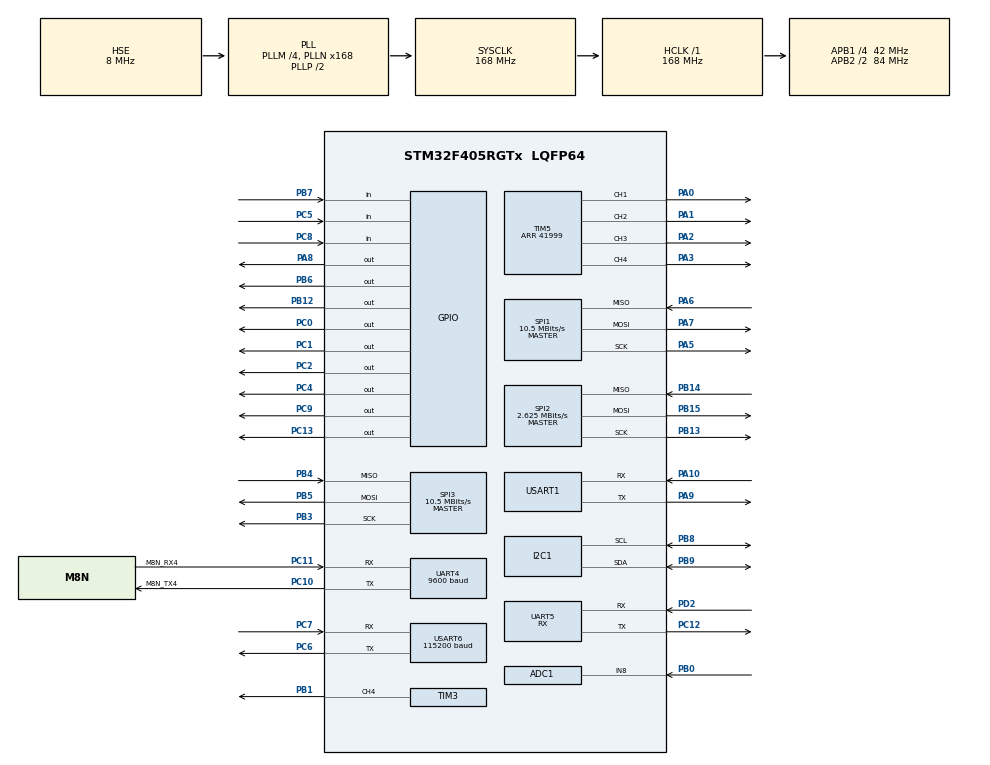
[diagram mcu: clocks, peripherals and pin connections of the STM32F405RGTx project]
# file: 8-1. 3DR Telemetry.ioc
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ADC1.Channel-0\#ChannelRegularConversion=ADC_CHANNEL_8
ADC1.ClockPrescaler=ADC_CLOCK_SYNC_PCLK_DIV8
ADC1.ContinuousConvMode=ENABLE
ADC1.DMAContinuousRequests=ENABLE
ADC1.NbrOfConversionFlag=1
ADC1.Rank-0\#ChannelRegularConversion=1
ADC1.SamplingTime-0\#ChannelRegularConversion=ADC_SAMPLETIME_480CYCLES
ADC1.master=1
Dma.ADC1.0.Direction=DMA_PERIPH_TO_MEMORY
Dma.ADC1.0.FIFOMode=DMA_FIFOMODE_DISABLE
Dma.ADC1.0.Instance=DMA2_Stream0
Dma.ADC1.0.MemDataAlignment=DMA_MDATAALIGN_HALFWORD
Dma.ADC1.0.MemInc=DMA_MINC_DISABLE
Dma.ADC1.0.Mode=DMA_CIRCULAR
Dma.ADC1.0.PeriphDataAlignment=DMA_PDATAALIGN_HALFWORD
Dma.ADC1.0.PeriphInc=DMA_PINC_DISABLE
Dma.ADC1.0.Priority=DMA_PRIORITY_LOW
Dma.Request0=ADC1
I2C1.I2C_Mode=I2C_Fast
Mcu.Family=STM32F4
Mcu.Name=STM32F405RGTx
Mcu.Package=LQFP64
NVIC.DMA2_Stream0_IRQn=true\:0\:0\:false\:false\:true\:false\:true
NVIC.PriorityGroup=NVIC_PRIORITYGROUP_4
NVIC.UART4_IRQn=true\:0\:0\:false\:false\:true\:true\:true
NVIC.UART5_IRQn=true\:0\:0\:false\:false\:true\:true\:true
NVIC.USART1_IRQn=true\:0\:0\:false\:false\:true\:true\:true
NVIC.USART6_IRQn=true\:0\:0\:false\:false\:true\:true\:true
PA0-WKUP.Signal=S_TIM5_CH1
PA1.Signal=S_TIM5_CH2
PA10.Mode=Asynchronous
PA10.Signal=USART1_RX
PA2.Signal=S_TIM5_CH3
PA3.Signal=S_TIM5_CH4
PA5.Mode=Full_Duplex_Master
PA5.Signal=SPI1_SCK
PA6.Mode=Full_Duplex_Master
PA6.Signal=SPI1_MISO
PA7.Mode=Full_Duplex_Master
PA7.Signal=SPI1_MOSI
PA8.Signal=GPIO_Output
PA9.Mode=Asynchronous
PA9.Signal=USART1_TX
PB0.Signal=ADCx_IN8
PB1.Signal=S_TIM3_CH4
PB12.Signal=GPIO_Output
PB13.Mode=Full_Duplex_Master
PB13.Signal=SPI2_SCK
PB14.Mode=Full_Duplex_Master
PB14.Signal=SPI2_MISO
PB15.Mode=Full_Duplex_Master
PB15.Signal=SPI2_MOSI
PB3.Mode=Full_Duplex_Master
PB3.Signal=SPI3_SCK
PB4.Mode=Full_Duplex_Master
PB4.Signal=SPI3_MISO
PB5.Mode=Full_Duplex_Master
PB5.Signal=SPI3_MOSI
PB6.Signal=GPIO_Output
PB7.Signal=GPIO_Input
PB8.Mode=I2C
PB8.Signal=I2C1_SCL
PB9.Mode=I2C
PB9.Signal=I2C1_SDA
PC0.Signal=GPIO_Output
PC1.Signal=GPIO_Output
PC10.GPIO_Label=M8N_TX4
PC10.Mode=Asynchronous
PC10.Signal=UART4_TX
PC11.GPIO_Label=M8N_RX4
PC11.Mode=Asynchronous
PC11.Signal=UART4_RX
PC12.Mode=Asynchronous
PC12.Signal=UART5_TX
PC13-ANTI_TAMP.PinState=GPIO_PIN_SET
PC13-ANTI_TAMP.Signal=GPIO_Output
PC2.Signal=GPIO_Output
PC4.Signal=GPIO_Output
PC5.Signal=GPIO_Input
PC6.Mode=Asynchronous
PC6.Signal=USART6_TX
PC7.Mode=Asynchronous
PC7.Signal=USART6_RX
PC8.Signal=GPIO_Input
PC9.Signal=GPIO_Output
PD2.Mode=Asynchronous
PD2.Signal=UART5_RX
PH0-OSC_IN.Mode=HSE-External-Oscillator
PH0-OSC_IN.Signal=RCC_OSC_IN
PH1-OSC_OUT.Mode=HSE-External-Oscillator
PH1-OSC_OUT.Signal=RCC_OSC_OUT
ProjectManager.HeapSize=0x200
ProjectManager.StackSize=0x400
ProjectManager.TargetToolchain=STM32CubeIDE
RCC.48MHZClocksFreq_Value=84000000
RCC.AHBFreq_Value=168000000
RCC.APB1CLKDivider=RCC_HCLK_DIV4
RCC.APB1Freq_Value=42000000
RCC.APB1TimFreq_Value=84000000
RCC.APB2CLKDivider=RCC_HCLK_DIV2
RCC.APB2Freq_Value=84000000
RCC.APB2TimFreq_Value=168000000
RCC.CortexFreq_Value=168000000
RCC.HCLKFreq_Value=168000000
RCC.HSE_VALUE=8000000
RCC.HSI_VALUE=16000000
RCC.LSE_VALUE=32768
RCC.PLLM=4
RCC.PLLN=168
RCC.PLLSourceVirtual=RCC_PLLSOURCE_HSE
RCC.SYSCLKFreq_VALUE=168000000
RCC.SYSCLKSource=RCC_SYSCLKSOURCE_PLLCLK
RCC.VCOOutputFreq_Value=336000000
SH.ADCx_IN8.0=ADC1_IN8,IN8
SH.S_TIM3_CH4.0=TIM3_CH4,PWM Generation4 CH4
SH.S_TIM5_CH1.0=TIM5_CH1,PWM Generation1 CH1
SH.S_TIM5_CH2.0=TIM5_CH2,PWM Generation2 CH2
SH.S_TIM5_CH3.0=TIM5_CH3,PWM Generation3 CH3
SH.S_TIM5_CH4.0=TIM5_CH4,PWM Generation4 CH4
SPI1.BaudRatePrescaler=SPI_BAUDRATEPRESCALER_8
SPI1.CLKPhase=SPI_PHASE_2EDGE
SPI1.CLKPolarity=SPI_POLARITY_HIGH
SPI1.CalculateBaudRate=10.5 MBits/s
SPI1.Direction=SPI_DIRECTION_2LINES
SPI1.Mode=SPI_MODE_MASTER
SPI1.VirtualType=VM_MASTER
SPI2.BaudRatePrescaler=SPI_BAUDRATEPRESCALER_16
SPI2.CLKPhase=SPI_PHASE_2EDGE
SPI2.CLKPolarity=SPI_POLARITY_HIGH
SPI2.CalculateBaudRate=2.625 MBits/s
SPI2.Direction=SPI_DIRECTION_2LINES
SPI2.Mode=SPI_MODE_MASTER
SPI2.VirtualType=VM_MASTER
SPI3.BaudRatePrescaler=SPI_BAUDRATEPRESCALER_4
SPI3.CLKPhase=SPI_PHASE_2EDGE
SPI3.CLKPolarity=SPI_POLARITY_HIGH
SPI3.CalculateBaudRate=10.5 MBits/s
SPI3.Direction=SPI_DIRECTION_2LINES
SPI3.Mode=SPI_MODE_MASTER
SPI3.VirtualType=VM_MASTER
TIM3.AutoReloadPreload=TIM_AUTORELOAD_PRELOAD_ENABLE
TIM3.Channel-PWM\ Generation4\ CH4=TIM_CHANNEL_4
TIM3.OCFastMode_PWM-PWM\ Generation4\ CH4=TIM_OCFAST_ENABLE
TIM3.Period=20
TIM3.Prescaler=999
TIM3.Pulse-PWM\ Generation4\ CH4=10
TIM5.AutoReloadPreload=TIM_AUTORELOAD_PRELOAD_ENABLE
TIM5.Channel-PWM\ Generation1\ CH1=TIM_CHANNEL_1
TIM5.Channel-PWM\ Generation2\ CH2=TIM_CHANNEL_2
TIM5.Channel-PWM\ Generation3\ CH3=TIM_CHANNEL_3
TIM5.Channel-PWM\ Generation4\ CH4=TIM_CHANNEL_4
TIM5.OCFastMode_PWM-PWM\ Generation1\ CH1=TIM_OCFAST_ENABLE
TIM5.OCFastMode_PWM-PWM\ Generation2\ CH2=TIM_OCFAST_ENABLE
TIM5.OCFastMode_PWM-PWM\ Generation3\ CH3=TIM_OCFAST_ENABLE
TIM5.OCFastMode_PWM-PWM\ Generation4\ CH4=TIM_OCFAST_ENABLE
TIM5.Period=41999
TIM5.Pulse-PWM\ Generation1\ CH1=0
TIM5.Pulse-PWM\ Generation2\ CH2=0
TIM5.Pulse-PWM\ Generation3\ CH3=0
UART4.BaudRate=9600
UART4.VirtualMode=Asynchronous
UART5.Mode=MODE_RX
UART5.VirtualMode=Asynchronous
USART1.VirtualMode=VM_ASYNC
USART6.BaudRate=115200
USART6.VirtualMode=VM_ASYNC
VP_TIM3_VS_ClockSourceINT.Mode=Internal
VP_TIM5_VS_ClockSourceINT.Mode=Internal
board=custom

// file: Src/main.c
/* USER CODE BEGIN Header */
/**
  ******************************************************************************
  * @file           : main.c
  * @brief          : Main program body
  ******************************************************************************
  * @attention
  *
  * <h2><center>&copy; Copyright (c) 2019 STMicroelectronics.
  * All rights reserved.</center></h2>
  *
  * This software component is licensed by ST under BSD 3-Clause license,
  * the "License"; You may not use this file except in compliance with the
  * License. You may obtain a copy of the License at:
  *                        opensource.org/licenses/BSD-3-Clause
  *
  ******************************************************************************
  */
/* USER CODE END Header */

#include "main.h"
#include "adc.h"
#include "dma.h"
#include "i2c.h"
#include "spi.h"
#include "tim.h"
#include "usart.h"
#include "gpio.h"

/* USER CODE BEGIN Includes */
#include "bno080.h"
#include "quaternion.h"
#include "icm20602.h"
#include "lps22hh.h"
#include "M8N.h"
#include "FS-iA6B.h"
#include "AT24C08.h"
/* USER CODE END Includes */

/* USER CODE BEGIN PTD */
int _write(int file, char* p, int len)
{
	for(int i=0;i<len;i++)
	{
		while(!LL_USART_IsActiveFlag_TXE(USART6));
		LL_USART_TransmitData8(USART6, *(p+i));
	}
	return len;
}
/* USER CODE END PTD */

/* USER CODE BEGIN PV */
extern uint8_t uart6_rx_flag;
extern uint8_t uart6_rx_data;

extern uint8_t m8n_rx_buf[36];
extern uint8_t m8n_rx_cplt_flag;

extern uint8_t ibus_rx_buf[32];
extern uint8_t ibus_rx_cplt_flag;

extern uint8_t uart1_rx_data;
/* USER CODE END PV */

void SystemClock_Config(void);
/* USER CODE BEGIN PFP */
int Is_iBus_Throttle_Min(void);
void ESC_Calibration(void);
int Is_iBus_Received(void);
void BNO080_Calibration(void);
/* USER CODE END PFP */

int main(void)
{
  /* USER CODE BEGIN 1 */
	float q[4];
	float quatRadianAccuracy;
	unsigned char buf_read[16] = {1};
	unsigned char buf_write[16] = {1, 2, 3, 4, 5, 6, 7, 8, 9, 10, 11, 12, 13, 14, 15, 16};
	unsigned short adcVal;
	float batVolt;
	short gyro_x_offset = 1, gyro_y_offset = -23, gyro_z_offset = -3;
  /* USER CODE END 1 */

  /* MCU Configuration--------------------------------------------------------*/

  /* Reset of all peripherals, Initializes the Flash interface and the Systick. */
  HAL_Init();

  /* Configure the system clock */
  SystemClock_Config();

  /* Initialize all configured peripherals */
  MX_GPIO_Init();
  MX_TIM3_Init();
  MX_USART6_UART_Init();
  MX_SPI2_Init();
  MX_SPI1_Init();
  MX_SPI3_Init();
  MX_UART4_Init();
  MX_UART5_Init();
  MX_TIM5_Init();
  MX_I2C1_Init();
  MX_DMA_Init();
  MX_ADC1_Init();
  MX_USART1_UART_Init();
  /* USER CODE BEGIN 2 */
  LL_TIM_EnableCounter(TIM3);

  LL_USART_EnableIT_RXNE(USART6);
  LL_USART_EnableIT_RXNE(UART4);
  LL_USART_EnableIT_RXNE(UART5);

  BNO080_Initialization();
  BNO080_enableRotationVector(2500);

  ICM20602_Initialization();
  LPS22HH_Initialization();
  M8N_Initialization();

  LL_TIM_EnableCounter(TIM5);
  LL_TIM_CC_EnableChannel(TIM5, LL_TIM_CHANNEL_CH1);
  LL_TIM_CC_EnableChannel(TIM5, LL_TIM_CHANNEL_CH2);
  LL_TIM_CC_EnableChannel(TIM5, LL_TIM_CHANNEL_CH3);
  LL_TIM_CC_EnableChannel(TIM5, LL_TIM_CHANNEL_CH4);

  HAL_ADC_Start_DMA(&hadc1, &adcVal, 1);

  HAL_UART_Receive_IT(&huart1, &uart1_rx_data, 1);

  ICM20602_Writebyte(0x13, (gyro_x_offset*-2)>>8);
  ICM20602_Writebyte(0x14, (gyro_x_offset*-2));

  ICM20602_Writebyte(0x15, (gyro_y_offset*-2)>>8);
  ICM20602_Writebyte(0x16, (gyro_y_offset*-2));

  ICM20602_Writebyte(0x17, (gyro_z_offset*-2)>>8);
  ICM20602_Writebyte(0x18, (gyro_z_offset*-2));

//  while(Is_iBus_Received() == 0)
//  {
//	  LL_TIM_CC_EnableChannel(TIM3, LL_TIM_CHANNEL_CH4);
//
//	  TIM3->PSC = 3000;
//	  HAL_Delay(200);
//	  LL_TIM_CC_DisableChannel(TIM3, LL_TIM_CHANNEL_CH4);
//	  HAL_Delay(200);
//  }
//  if(iBus.SwC == 2000)
//  {
//	  LL_TIM_CC_EnableChannel(TIM3, LL_TIM_CHANNEL_CH4);
//
//	  TIM3->PSC = 1500;
//	  HAL_Delay(200);
//	  TIM3->PSC = 2000;
//	  HAL_Delay(200);
//	  TIM3->PSC = 1500;
//	  HAL_Delay(200);
//	  TIM3->PSC = 2000;
//	  HAL_Delay(200);
//	  LL_TIM_CC_DisableChannel(TIM3, LL_TIM_CHANNEL_CH4);
//
//	  ESC_Calibration();
//	  while(iBus.SwC != 1000)
//	  {
//		  Is_iBus_Received();
//		  LL_TIM_CC_EnableChannel(TIM3, LL_TIM_CHANNEL_CH4);
//
//		  TIM3->PSC = 1500;
//		  HAL_Delay(200);
//		  TIM3->PSC = 2000;
//		  HAL_Delay(200);
//		  LL_TIM_CC_DisableChannel(TIM3, LL_TIM_CHANNEL_CH4);
//	  }
//  }
//  else if(iBus.SwC == 1500)
//  {
//	  LL_TIM_CC_EnableChannel(TIM3, LL_TIM_CHANNEL_CH4);
//
//	  TIM3->PSC = 1500;
//	  HAL_Delay(200);
//	  TIM3->PSC = 2000;
//	  HAL_Delay(200);
//	  TIM3->PSC = 1500;
//	  HAL_Delay(200);
//	  TIM3->PSC = 2000;
//	  HAL_Delay(200);
//	  LL_TIM_CC_DisableChannel(TIM3, LL_TIM_CHANNEL_CH4);
//
//	  BNO080_Calibration();
//	  while(iBus.SwC != 1000)
//	  {
//		  Is_iBus_Received();
//		  LL_TIM_CC_EnableChannel(TIM3, LL_TIM_CHANNEL_CH4);
//
//		  TIM3->PSC = 1500;
//		  HAL_Delay(200);
//		  TIM3->PSC = 2000;
//		  HAL_Delay(200);
//		  LL_TIM_CC_DisableChannel(TIM3, LL_TIM_CHANNEL_CH4);
//	  }
//  }
//
//
//  while(Is_iBus_Throttle_Min() == 0)
//  {
//	  LL_TIM_CC_EnableChannel(TIM3, LL_TIM_CHANNEL_CH4);
//
//	  TIM3->PSC = 1000;
//	  HAL_Delay(70);
//	  LL_TIM_CC_DisableChannel(TIM3, LL_TIM_CHANNEL_CH4);
//	  HAL_Delay(70);
//  }

//  //EP_PIDGain_Write(0, 1.1, 2.2, 3.3);
//  float p = 0.0, i = 0.0, d = 0.0;
//  EP_PIDGain_Read(0, &p, &i, &d);
//
//  printf("%f %f %f", p, i, d);

  LL_TIM_CC_EnableChannel(TIM3, LL_TIM_CHANNEL_CH4);

  TIM3->PSC = 2000;
  HAL_Delay(100);
  TIM3->PSC = 1500;
  HAL_Delay(100);
  TIM3->PSC = 1000;
  HAL_Delay(100);

  LL_TIM_CC_DisableChannel(TIM3, LL_TIM_CHANNEL_CH4);

  printf("Start\n");

  /* USER CODE END 2 */

  /* Infinite loop */
  while (1)
  {

    /* USER CODE BEGIN 3 */
	  batVolt = adcVal * 0.003619f;
	  //printf("%d\t%.2f\n", adcVal, batVolt);
	  if(batVolt < 10.0f)
	  {
		  TIM3->PSC = 1000;
		  LL_TIM_CC_EnableChannel(TIM3, LL_TIM_CHANNEL_CH4);
	  }
	  else
	  {
		  LL_TIM_CC_DisableChannel(TIM3, LL_TIM_CHANNEL_CH4);
	  }

//	  if(BNO080_dataAvailable() == 1)
//	  {
//		  LL_GPIO_TogglePin(GPIOC, LL_GPIO_PIN_0);
//
//		  q[0] = BNO080_getQuatI();
//		  q[1] = BNO080_getQuatJ();
//		  q[2] = BNO080_getQuatK();
//		  q[3] = BNO080_getQuatReal();
//		  quatRadianAccuracy = BNO080_getQuatRadianAccuracy();
//
//		  Quaternion_Update(&q[0]);
//
//		  //printf("%.2f\t%.2f\n", BNO080_Roll, BNO080_Pitch);
//		  printf("%.2f\n", BNO080_Yaw);
//	  }

	  if(ICM20602_DataReady() == 1)
	  {
		  LL_GPIO_TogglePin(GPIOC, LL_GPIO_PIN_1);

		  ICM20602_Get3AxisGyroRawData(&ICM20602.gyro_x_raw);

		  ICM20602.gyro_x = ICM20602.gyro_x_raw * 2000.f / 32768.f;
		  ICM20602.gyro_y = ICM20602.gyro_y_raw * 2000.f / 32768.f;
		  ICM20602.gyro_z = ICM20602.gyro_z_raw * 2000.f / 32768.f;

		  printf("%d,%d,%d\n", ICM20602.gyro_x_raw, ICM20602.gyro_y_raw, ICM20602.gyro_z_raw);
		  //printf("%d,%d,%d\n", (int)(ICM20602.gyro_x*100), (int)(ICM20602.gyro_y*100), (int)(ICM20602.gyro_z*100));
	  }

//	  if(LPS22HH_DataReady() == 1)
//	  {
//		  LPS22HH_GetPressure(&LPS22HH.pressure_raw);
//		  LPS22HH_GetTemperature(&LPS22HH.temperature_raw);
//
//		  LPS22HH.baroAlt = getAltitude2(LPS22HH.pressure_raw/4096.f, LPS22HH.temperature_raw/100.f);
//
//#define X 0.90f
//		  LPS22HH.baroAltFilt = LPS22HH.baroAltFilt * X + LPS22HH.baroAlt * (1.0f - X);
//
//		  printf("%d,%d\n", (int)(LPS22HH.baroAlt*100), (int)(LPS22HH.baroAltFilt*100));
//	  }

//	  if(m8n_rx_cplt_flag == 1)
//	  {
//		  m8n_rx_cplt_flag = 0;
//
//		  if(M8N_UBX_CHKSUM_Check(&m8n_rx_buf[0], 36) == 1)
//		  {
//			  LL_GPIO_TogglePin(GPIOC, LL_GPIO_PIN_2);
//			  M8N_UBX_NAV_POSLLH_Parsing(&m8n_rx_buf[0], &posllh);
//
//			  printf("LAT: %ld\tLON: %ld\tHeight: %ld\n", posllh.lat, posllh.lon, posllh.height);
//		  }
//	  }

//	  if(ibus_rx_cplt_flag == 1)
//	  {
//		  ibus_rx_cplt_flag = 0;
//		  if(iBus_Check_CHKSUM(&ibus_rx_buf[0], 32) == 1)
//		  {
//			  LL_GPIO_TogglePin(GPIOC, LL_GPIO_PIN_2);
//
//			  iBus_Parsing(&ibus_rx_buf[0], &iBus);
//			  if(iBus_isActiveFailsafe(&iBus) == 1)
//			  {
//				  LL_TIM_CC_EnableChannel(TIM3, LL_TIM_CHANNEL_CH4);
//			  }
//			  else
//			  {
//				  LL_TIM_CC_DisableChannel(TIM3, LL_TIM_CHANNEL_CH4);
//			  }
////			  printf("%d\t%d\t%d\t%d\t%d\t%d\n",
////					  iBus.RH, iBus.RV, iBus.LV, iBus.LH, iBus.SwA, iBus.SwC);
////			  HAL_Delay(100);
//		  }
//	  }

  }
  /* USER CODE END 3 */
}

void SystemClock_Config(void)
{
  RCC_OscInitTypeDef RCC_OscInitStruct = {0};
  RCC_ClkInitTypeDef RCC_ClkInitStruct = {0};

  /** Configure the main internal regulator output voltage
  */
  __HAL_RCC_PWR_CLK_ENABLE();
  __HAL_PWR_VOLTAGESCALING_CONFIG(PWR_REGULATOR_VOLTAGE_SCALE1);
  /** Initializes the CPU, AHB and APB busses clocks
  */
  RCC_OscInitStruct.OscillatorType = RCC_OSCILLATORTYPE_HSE;
  RCC_OscInitStruct.HSEState = RCC_HSE_ON;
  RCC_OscInitStruct.PLL.PLLState = RCC_PLL_ON;
  RCC_OscInitStruct.PLL.PLLSource = RCC_PLLSOURCE_HSE;
  RCC_OscInitStruct.PLL.PLLM = 4;
  RCC_OscInitStruct.PLL.PLLN = 168;
  RCC_OscInitStruct.PLL.PLLP = RCC_PLLP_DIV2;
  RCC_OscInitStruct.PLL.PLLQ = 4;
  if (HAL_RCC_OscConfig(&RCC_OscInitStruct) != HAL_OK)
  {
    Error_Handler();
  }
  /** Initializes the CPU, AHB and APB busses clocks
  */
  RCC_ClkInitStruct.ClockType = RCC_CLOCKTYPE_HCLK|RCC_CLOCKTYPE_SYSCLK
                              |RCC_CLOCKTYPE_PCLK1|RCC_CLOCKTYPE_PCLK2;
  RCC_ClkInitStruct.SYSCLKSource = RCC_SYSCLKSOURCE_PLLCLK;
  RCC_ClkInitStruct.AHBCLKDivider = RCC_SYSCLK_DIV1;
  RCC_ClkInitStruct.APB1CLKDivider = RCC_HCLK_DIV4;
  RCC_ClkInitStruct.APB2CLKDivider = RCC_HCLK_DIV2;

  if (HAL_RCC_ClockConfig(&RCC_ClkInitStruct, FLASH_LATENCY_5) != HAL_OK)
  {
    Error_Handler();
  }
}

/* USER CODE BEGIN 4 */
int Is_iBus_Throttle_Min(void)
{
	if(ibus_rx_cplt_flag == 1)
	{
		ibus_rx_cplt_flag = 0;
		if(iBus_Check_CHKSUM(&ibus_rx_buf[0], 32) == 1)
		{
			iBus_Parsing(&ibus_rx_buf[0], &iBus);
			if(iBus.LV < 1010) return 1;
		}
	}

	return 0;
}

void ESC_Calibration(void)
{
	  TIM5->CCR1 = 21000;
	  TIM5->CCR2 = 21000;
	  TIM5->CCR3 = 21000;
	  TIM5->CCR4 = 21000;
	  HAL_Delay(7000);
	  TIM5->CCR1 = 10500;
	  TIM5->CCR2 = 10500;
	  TIM5->CCR3 = 10500;
	  TIM5->CCR4 = 10500;
	  HAL_Delay(8000);
}

int Is_iBus_Received(void)
{
	if(ibus_rx_cplt_flag == 1)
	{
		ibus_rx_cplt_flag = 0;
		if(iBus_Check_CHKSUM(&ibus_rx_buf[0], 32) == 1)
		{
			iBus_Parsing(&ibus_rx_buf[0], &iBus);
			return 1;
		}
	}

	return 0;
}

void BNO080_Calibration(void)
{
	//Resets BNO080 to disable All output
	BNO080_Initialization();

	//BNO080/BNO085 Configuration
	//Enable dynamic calibration for accelerometer, gyroscope, and magnetometer
	//Enable Game Rotation Vector output
	//Enable Magnetic Field output
	BNO080_calibrateAll(); //Turn on cal for Accel, Gyro, and Mag
	BNO080_enableGameRotationVector(20000); //Send data update every 20ms (50Hz)
	BNO080_enableMagnetometer(20000); //Send data update every 20ms (50Hz)

	//Once magnetic field is 2 or 3, run the Save DCD Now command
  	printf("Calibrating BNO080. Pull up FS-i6 SWC to end calibration and save to flash\n");
  	printf("Output in form x, y, z, in uTesla\n\n");

	//while loop for calibration procedure
	//Iterates until iBus.SwC is mid point (1500)
	//Calibration procedure should be done while this loop is in iteration.
	while(iBus.SwC == 1500)
	{
		if(BNO080_dataAvailable() == 1)
		{
			//Observing the status bit of the magnetic field output
			float x = BNO080_getMagX();
			float y = BNO080_getMagY();
			float z = BNO080_getMagZ();
			unsigned char accuracy = BNO080_getMagAccuracy();

			float quatI = BNO080_getQuatI();
			float quatJ = BNO080_getQuatJ();
			float quatK = BNO080_getQuatK();
			float quatReal = BNO080_getQuatReal();
			unsigned char sensorAccuracy = BNO080_getQuatAccuracy();

			printf("%f,%f,%f,", x, y, z);
			if (accuracy == 0) printf("Unreliable\t");
			else if (accuracy == 1) printf("Low\t");
			else if (accuracy == 2) printf("Medium\t");
			else if (accuracy == 3) printf("High\t");

			printf("\t%f,%f,%f,%f,", quatI, quatI, quatI, quatReal);
			if (sensorAccuracy == 0) printf("Unreliable\n");
			else if (sensorAccuracy == 1) printf("Low\n");
			else if (sensorAccuracy == 2) printf("Medium\n");
			else if (sensorAccuracy == 3) printf("High\n");

			//Turn the LED and buzzer on when both accuracy and sensorAccuracy is high
			if(accuracy == 3 && sensorAccuracy == 3)
			{
				LL_GPIO_SetOutputPin(GPIOC, LL_GPIO_PIN_0 | LL_GPIO_PIN_1 | LL_GPIO_PIN_2);
				TIM3->PSC = 65000; //Very low frequency
				LL_TIM_CC_EnableChannel(TIM3, LL_TIM_CHANNEL_CH4);
			}
			else
			{
				LL_GPIO_ResetOutputPin(GPIOC, LL_GPIO_PIN_0 | LL_GPIO_PIN_1 | LL_GPIO_PIN_2);
				LL_TIM_CC_DisableChannel(TIM3, LL_TIM_CHANNEL_CH4);
			}
		}

		Is_iBus_Received(); //Refreshes iBus Data for iBus.SwC
		HAL_Delay(100);
	}

	//Ends the loop when iBus.SwC is not mid point
	//Turn the LED and buzzer off
	LL_GPIO_ResetOutputPin(GPIOC, LL_GPIO_PIN_0 | LL_GPIO_PIN_1 | LL_GPIO_PIN_2);
	LL_TIM_CC_DisableChannel(TIM3, LL_TIM_CHANNEL_CH4);

	//Saves the current dynamic calibration data (DCD) to memory
	//Sends command to get the latest calibration status
	BNO080_saveCalibration();
	BNO080_requestCalibrationStatus();

	//Wait for calibration response, timeout if no response
	int counter = 100;
	while(1)
	{
		if(--counter == 0) break;
		if(BNO080_dataAvailable())
		{
			//The IMU can report many different things. We must wait
			//for the ME Calibration Response Status byte to go to zero
			if(BNO080_calibrationComplete() == 1)
			{
				printf("\nCalibration data successfully stored\n");
				LL_TIM_CC_EnableChannel(TIM3, LL_TIM_CHANNEL_CH4);
				TIM3->PSC = 2000;
				HAL_Delay(300);
				TIM3->PSC = 1500;
				HAL_Delay(300);
				LL_TIM_CC_DisableChannel(TIM3, LL_TIM_CHANNEL_CH4);
				HAL_Delay(1000);
				break;
			}
		}
		HAL_Delay(10);
	}
	if(counter == 0)
	{
		printf("\nCalibration data failed to store. Please try again.\n");
		LL_TIM_CC_EnableChannel(TIM3, LL_TIM_CHANNEL_CH4);
		TIM3->PSC = 1500;
		HAL_Delay(300);
		TIM3->PSC = 2000;
		HAL_Delay(300);
		LL_TIM_CC_DisableChannel(TIM3, LL_TIM_CHANNEL_CH4);
		HAL_Delay(1000);
	}

	//BNO080_endCalibration(); //Turns off all calibration
	//In general, calibration should be left on at all times. The BNO080
	//auto-calibrates and auto-records cal data roughly every 5 minutes

	//Resets BNO080 to disable Game Rotation Vector and Magnetometer
	//Enables Rotation Vector
	BNO080_Initialization();
	BNO080_enableRotationVector(2500); //Send data update every 2.5ms (400Hz)
}

void HAL_UART_RxCpltCallback(UART_HandleTypeDef *huart)
{
	if(huart->Instance == USART1)
	{
		HAL_UART_Receive_IT(&huart1, &uart1_rx_data, 1);
		HAL_UART_Transmit_IT(&huart1, &uart1_rx_data, 1);
	}
}
/* USER CODE END 4 */

void Error_Handler(void)
{
}

/************************ (C) COPYRIGHT STMicroelectronics *****END OF FILE****/
